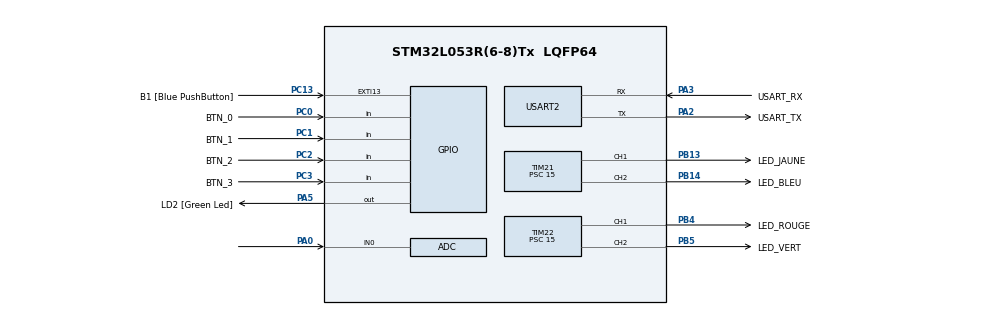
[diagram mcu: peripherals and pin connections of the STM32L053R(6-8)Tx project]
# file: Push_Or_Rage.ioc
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Mcu.Family=STM32L0
Mcu.Name=STM32L053R(6-8)Tx
Mcu.Package=LQFP64
NVIC.USART2_IRQn=true\:0\:0\:false\:false\:true\:true\:true\:true
PA0.Mode=IN0
PA0.Signal=ADC_IN0
PA13.GPIO_Label=TMS
PA13.Mode=Serial_Wire
PA13.Signal=SYS_SWDIO
PA14.GPIO_Label=TCK
PA14.Mode=Serial_Wire
PA14.Signal=SYS_SWCLK
PA2.GPIO_Label=USART_TX
PA2.Mode=Asynchronous
PA2.Signal=USART2_TX
PA3.GPIO_Label=USART_RX
PA3.Mode=Asynchronous
PA3.Signal=USART2_RX
PA5.GPIO_Label=LD2 [Green Led]
PA5.GPIO_PuPd=GPIO_NOPULL
PA5.Signal=GPIO_Output
PB13.GPIO_Label=LED_JAUNE
PB13.Signal=S_TIM21_CH1
PB14.GPIO_Label=LED_BLEU
PB14.Signal=S_TIM21_CH2
PB4.GPIO_Label=LED_ROUGE
PB4.Signal=S_TIM22_CH1
PB5.GPIO_Label=LED_VERT
PB5.Signal=S_TIM22_CH2
PC0.GPIO_Label=BTN_0
PC0.GPIO_PuPd=GPIO_PULLUP
PC0.Signal=GPIO_Input
PC1.GPIO_Label=BTN_1
PC1.GPIO_PuPd=GPIO_PULLUP
PC1.Signal=GPIO_Input
PC13.GPIO_Label=B1 [Blue PushButton]
PC13.GPIO_ModeDefaultEXTI=GPIO_MODE_IT_FALLING
PC13.Signal=GPXTI13
PC14-OSC32_IN.Mode=LSE-External-Oscillator
PC14-OSC32_IN.Signal=RCC_OSC32_IN
PC15-OSC32_OUT.Mode=LSE-External-Oscillator
PC15-OSC32_OUT.Signal=RCC_OSC32_OUT
PC2.GPIO_Label=BTN_2
PC2.GPIO_PuPd=GPIO_PULLUP
PC2.Signal=GPIO_Input
PC3.GPIO_Label=BTN_3
PC3.GPIO_PuPd=GPIO_PULLUP
PC3.Signal=GPIO_Input
PH0-OSC_IN.Mode=HSE-External-Clock-Source
PH0-OSC_IN.Signal=RCC_OSC_IN
PH1-OSC_OUT.Signal=RCC_OSC_OUT
ProjectManager.HeapSize=0x200
ProjectManager.StackSize=0x400
ProjectManager.TargetToolchain=STM32CubeIDE
RCC.AHBFreq_Value=16000000
RCC.APB1Freq_Value=16000000
RCC.APB1TimFreq_Value=16000000
RCC.APB2Freq_Value=16000000
RCC.APB2TimFreq_Value=16000000
RCC.HCLKFreq_Value=16000000
RCC.HSE_VALUE=8000000
RCC.HSI16_VALUE=16000000
RCC.HSI48_VALUE=48000000
RCC.HSI_VALUE=16000000
RCC.MSI_VALUE=2097000
RCC.SYSCLKFreq_VALUE=16000000
RCC.SYSCLKSource=RCC_SYSCLKSOURCE_HSI
RCC.VCOOutputFreq_Value=48000000
SH.S_TIM21_CH1.0=TIM21_CH1,PWM Generation1 CH1
SH.S_TIM21_CH2.0=TIM21_CH2,PWM Generation2 CH2
SH.S_TIM22_CH1.0=TIM22_CH1,PWM Generation1 CH1
SH.S_TIM22_CH2.0=TIM22_CH2,PWM Generation2 CH2
TIM21.Channel-PWM\ Generation1\ CH1=TIM_CHANNEL_1
TIM21.Channel-PWM\ Generation2\ CH2=TIM_CHANNEL_2
TIM21.Period=999
TIM21.Prescaler=15
TIM22.Channel-PWM\ Generation1\ CH1=TIM_CHANNEL_1
TIM22.Channel-PWM\ Generation2\ CH2=TIM_CHANNEL_2
TIM22.Period=999
TIM22.Prescaler=15
USART2.VirtualMode-Asynchronous=VM_ASYNC
VP_TIM21_VS_ClockSourceINT.Mode=Internal
VP_TIM22_VS_ClockSourceINT.Mode=Internal
board=NUCLEO-L053R8

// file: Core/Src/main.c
/* USER CODE BEGIN Header */
/**
  ******************************************************************************
  * @file           : main.c
  * @brief          : Programme principal du TP Microcontrôleurs.
  * @details        : Ce fichier contient la machine à états pour les jeux de
  * Réflexe et de Mémoire, la gestion des E/S, du PWM et de
  * la communication UART avec l'IHM PC.
  * @author         : RANDRIANARIJAONA Joyce, MUZARD Thomas
  * @date           : 10/03/2026
  ******************************************************************************
  * @attention
  *
  * Copyright (c) 2026 STMicroelectronics.
  * All rights reserved.
  *
  * This software is licensed under terms that can be found in the LICENSE file
  * in the root directory of this software component.
  * If no LICENSE file comes with this software, it is provided AS-IS.
  *
  ******************************************************************************
  */
/* USER CODE END Header */
#include "main.h"
#include "adc.h"
#include "tim.h"
#include "usart.h"
#include "gpio.h"

/* USER CODE BEGIN Includes */
#include <stdio.h>
#include <stdlib.h>
#include <string.h>
/* USER CODE END Includes */

/* USER CODE BEGIN PTD */
/**
 * @enum GameState
 * @brief Enumération des différents états de la machine à états du système.
 */
typedef enum {
    STATE_MENU,          /**< État du menu principal d'attente */
    STATE_GAME_REFLEX,   /**< État du jeu de réflexe en cours */
    STATE_GAME_MEMORY,   /**< État du jeu de mémoire (Simon) en cours */
    STATE_GAME_OVER      /**< État de fin de partie */
} GameState;
/* USER CODE END PTD */

/* USER CODE BEGIN PV */
/** @brief État courant de la machine à états globale */
GameState currentState = STATE_MENU;

/** @brief Buffer de réception pour les commandes UART venant du PC */
char rx_buffer[50];

/** @brief Index d'écriture courant dans le buffer de réception */
uint8_t rx_index = 0;

/** @brief Drapeau (flag) levé par l'interruption UART lorsqu'un message complet ('\n') est reçu */
volatile uint8_t command_received = 0;

/** @brief Durée de la partie en millisecondes (modifiable via l'IHM) */
uint32_t activeGameDuration = 30000;
/* USER CODE END PV */

void SystemClock_Config(void);
/* USER CODE BEGIN PFP */
void RunMenuMode(void);
void RunReflexGame(void);
void RunMemoryGame(void);
void RunGameOver(void);
uint32_t ReadPotentiometer(void);
/* USER CODE END PFP */

int main(void)
{

  /* MCU Configuration--------------------------------------------------------*/

  /* Reset of all peripherals, Initializes the Flash interface and the Systick. */
  LL_APB2_GRP1_EnableClock(LL_APB2_GRP1_PERIPH_SYSCFG);
  LL_APB1_GRP1_EnableClock(LL_APB1_GRP1_PERIPH_PWR);

  /* Configure the system clock */
  SystemClock_Config();

  /* Initialize all configured peripherals */
  MX_GPIO_Init();
  MX_USART2_UART_Init();
  MX_ADC_Init();
  MX_TIM21_Init();
  MX_TIM22_Init();

  /* USER CODE BEGIN 2 */
  // Activation de l'interruption de réception UART
  LL_USART_EnableIT_RXNE(USART2);

  // Activation des canaux PWM et des compteurs pour les LEDs
  LL_TIM_CC_EnableChannel(TIM21, LL_TIM_CHANNEL_CH1);
  LL_TIM_CC_EnableChannel(TIM21, LL_TIM_CHANNEL_CH2);
  LL_TIM_EnableCounter(TIM21);

  LL_TIM_CC_EnableChannel(TIM22, LL_TIM_CHANNEL_CH1);
  LL_TIM_CC_EnableChannel(TIM22, LL_TIM_CHANNEL_CH2);
  LL_TIM_EnableCounter(TIM22);

  // Extinction initiale de toutes les LEDs
  EteindreToutesLesLeds();
  /* USER CODE END 2 */

  /* Infinite loop */
  /* USER CODE BEGIN WHILE */
  while (1)
  {
	  switch (currentState) {
			case STATE_MENU:
				RunMenuMode();
				break;
			case STATE_GAME_REFLEX:
				RunReflexGame();
				break;
			case STATE_GAME_MEMORY:
				RunMemoryGame();
				break;
			case STATE_GAME_OVER:
				RunGameOver();
				break;
			default:
				break;
		}
    /* USER CODE END WHILE */

  }
}

void SystemClock_Config(void)
{
  LL_FLASH_SetLatency(LL_FLASH_LATENCY_0);
  while(LL_FLASH_GetLatency()!= LL_FLASH_LATENCY_0)
  {
  }
  LL_PWR_SetRegulVoltageScaling(LL_PWR_REGU_VOLTAGE_SCALE1);
  while (LL_PWR_IsActiveFlag_VOS() != 0)
  {
  }
  LL_RCC_HSI_Enable();

   /* Wait till HSI is ready */
  while(LL_RCC_HSI_IsReady() != 1)
  {

  }
  LL_RCC_HSI_SetCalibTrimming(16);
  LL_RCC_SetAHBPrescaler(LL_RCC_SYSCLK_DIV_1);
  LL_RCC_SetAPB1Prescaler(LL_RCC_APB1_DIV_1);
  LL_RCC_SetAPB2Prescaler(LL_RCC_APB2_DIV_1);
  LL_RCC_SetSysClkSource(LL_RCC_SYS_CLKSOURCE_HSI);

   /* Wait till System clock is ready */
  while(LL_RCC_GetSysClkSource() != LL_RCC_SYS_CLKSOURCE_STATUS_HSI)
  {

  }

  LL_Init1msTick(16000000);

  LL_SetSystemCoreClock(16000000);
  LL_RCC_SetUSARTClockSource(LL_RCC_USART2_CLKSOURCE_PCLK1);
}

/* USER CODE BEGIN 4 */

/**
 * @brief  Redirection de la fonction printf vers le port série UART2.
 * @param  file Fichier de sortie (non utilisé).
 * @param  ptr  Pointeur vers la chaîne de caractères à envoyer.
 * @param  len  Longueur de la chaîne.
 * @retval int  Nombre de caractères envoyés.
 */
int _write(int file, char *ptr, int len) {
    for (int i = 0; i < len; i++) {
        while (!LL_USART_IsActiveFlag_TXE(USART2)) {}
        LL_USART_TransmitData8(USART2, (uint8_t)ptr[i]);
    }
    return len;
}

/**
 * @brief Analyse la commande reçue depuis le PC (IHM) via l'UART et configure le jeu en conséquence.
 * @note  Format attendu : "CMD:START:Mode:Temps" (ex: "CMD:START:Reflexe:60").
 */
void TraiterCommandePC(void) {
    if (strncmp(rx_buffer, "CMD:START:", 10) == 0) {
        char *modeStr = rx_buffer + 10;
        char *timeStr = strchr(modeStr, ':');

        if (timeStr != NULL) {
            *timeStr = '\0';
            timeStr++;

            int dureeSecondes = atoi(timeStr);
            activeGameDuration = dureeSecondes * 1000;

            if (strncmp(modeStr, "Reflexe", 7) == 0 || strncmp(modeStr, "Classique", 9) == 0) {
                currentState = STATE_GAME_REFLEX;
            }
            else if (strncmp(modeStr, "Memoire", 7) == 0 || strncmp(modeStr, "Memory", 6) == 0) {
                currentState = STATE_GAME_MEMORY;
            }

            srand(SysTick->VAL);
        }
    }
}

/**
 * @brief Éteint toutes les LEDs en réglant les rapports cycliques (Duty Cycle) PWM à 0.
 */
void EteindreToutesLesLeds(void) {
	LL_TIM_OC_SetCompareCH1(TIM21, 0);
	LL_TIM_OC_SetCompareCH2(TIM21, 0);
	LL_TIM_OC_SetCompareCH1(TIM22, 0);
	LL_TIM_OC_SetCompareCH2(TIM22, 0);
}

/**
 * @brief  Allume une LED spécifique en ajustant sa luminosité grâce au potentiomètre.
 * @param  index Index de la LED à allumer (0: Bleu, 1: Jaune, 2: Vert, 3: Rouge).
 * @note   La valeur de la période du Timer (ARR) doit être configurée à 999 ou 1000 dans CubeIDE.
 */
void AllumerLed(int index) {
    EteindreToutesLesLeds();

    uint32_t adc_value = ReadPotentiometer();

    // Calcul de la luminosité pour un Timer de période (ARR) = 1000
	uint32_t brightness = ((adc_value * 1000) / 4095) + 50;
	if (brightness > 1000) brightness = 1000;

    switch(index) {
        case 0: LL_TIM_OC_SetCompareCH1(TIM21, brightness); break;
        case 1: LL_TIM_OC_SetCompareCH2(TIM21, brightness); break;
        case 2: LL_TIM_OC_SetCompareCH1(TIM22, brightness); break;
        case 3: LL_TIM_OC_SetCompareCH2(TIM22, brightness); break;
    }
}

/**
 * @brief  Scrutte l'état physique des 4 boutons d'entrée.
 * @retval int L'index du bouton pressé (0 à 3), ou -1 si aucun bouton n'est enfoncé.
 */
int LireBoutonAppuye(void) {
    if (LL_GPIO_IsInputPinSet(BTN_0_GPIO_Port, BTN_0_Pin) == 0) return 0;
    if (LL_GPIO_IsInputPinSet(BTN_1_GPIO_Port, BTN_1_Pin) == 0) return 1;
    if (LL_GPIO_IsInputPinSet(BTN_2_GPIO_Port, BTN_2_Pin) == 0) return 2;
    if (LL_GPIO_IsInputPinSet(BTN_3_GPIO_Port, BTN_3_Pin) == 0) return 3;
    return -1;
}

/**
 * @brief État MENU : Attente d'une interaction utilisateur (physique ou via UART).
 */
void RunMenuMode(void) {
    printf("MSG:Menu - BTN_0 (Jaune) = Reflexe | BTN_1 (Bleu) = Memoire\n");
    printf("MOD:0\n");
    EteindreToutesLesLeds();

    uint32_t random_seed = 0;

    while (currentState == STATE_MENU) {
        random_seed++;

        if (command_received == 1) {
			command_received = 0;
			TraiterCommandePC();
			if (currentState != STATE_MENU) break;
		}

        int btn = LireBoutonAppuye();

        if (btn == 0) {
            LL_mDelay(50);
            if (LireBoutonAppuye() == 0) {
                srand(random_seed);
                currentState = STATE_GAME_REFLEX;
                while(LireBoutonAppuye() != -1);
            }
        }
        else if (btn == 1) {
            LL_mDelay(50);
            if (LireBoutonAppuye() == 1) {
                srand(random_seed);
                currentState = STATE_GAME_MEMORY;
                while(LireBoutonAppuye() != -1);
            }
        }
    }
}

/**
 * @brief État JEU DE RÉFLEXE : Allume des LEDs aléatoirement et attend une réaction rapide.
 */
void RunReflexGame(void) {
    printf("MSG:Preparez-vous !\n");
    printf("MOD:1\n");
    printf("SCR:0\n");

    int currentScore = 0;
    int loopCounter = 0;
    int maxLoops = activeGameDuration / 50;

    int ledActive = -1;
    int attenteAvantAllumage = 0;

    EteindreToutesLesLeds();

    while (loopCounter < maxLoops && currentState == STATE_GAME_REFLEX) {
        if (loopCounter % 20 == 0) {
            printf("TIM:%d\n", (maxLoops - loopCounter)/20);
        }

        if (ledActive == -1) {
            if (attenteAvantAllumage == 0) {
                attenteAvantAllumage = (rand() % 10) + 5;
            }
            attenteAvantAllumage--;

            if (attenteAvantAllumage == 0) {
                ledActive = rand() % 4;
                AllumerLed(ledActive);
            }
        }
		else {
			int btnAppuye = LireBoutonAppuye();

			if (btnAppuye != -1) {
				LL_mDelay(50);
				int btnConfirme = LireBoutonAppuye();

				if (btnConfirme == btnAppuye) {
					if (btnConfirme == ledActive) {
						currentScore++;
						printf("SCR:%d\n", currentScore);
					}

					EteindreToutesLesLeds();
					ledActive = -1;

					while(LireBoutonAppuye() != -1);
				}
			}
		}

        LL_mDelay(50);
        loopCounter++;
    }

    EteindreToutesLesLeds();
    currentState = STATE_GAME_OVER;
}

/**
 * @brief État JEU DE MÉMOIRE : Affiche une séquence lumineuse que le joueur doit reproduire.
 */
void RunMemoryGame(void) {
    printf("MSG:Retenez la sequence !\n");
    printf("MOD:2\n");
    printf("SCR:0\n");

    int sequence[100];
    int currentLevel = 1;
    int isGameOver = 0;

    while (!isGameOver && currentState == STATE_GAME_MEMORY) {
        EteindreToutesLesLeds();
        LL_mDelay(1000);

        sequence[currentLevel - 1] = rand() % 4;

        printf("MSG:Observez...\n");
        for (int i = 0; i < currentLevel; i++) {
            AllumerLed(sequence[i]);
            LL_mDelay(600);
            EteindreToutesLesLeds();
            LL_mDelay(300);
        }

        printf("MSG:A vous !\n");
        int joueurIndex = 0;
        int erreurSaisie = 0;

        while (joueurIndex < currentLevel && !erreurSaisie) {
            int btn = LireBoutonAppuye();

            if (btn != -1) {
                LL_mDelay(50);
                if (LireBoutonAppuye() == btn) {

                    AllumerLed(btn);

                    if (btn == sequence[joueurIndex]) {
                        joueurIndex++;
                    } else {
                        erreurSaisie = 1;
                    }

                    while(LireBoutonAppuye() != -1);
                    EteindreToutesLesLeds();
                }
            }
        }

        if (erreurSaisie) {
            printf("MSG:Erreur !\n");
            isGameOver = 1;
            for(int k=0; k<3; k++) { AllumerLed(3); LL_mDelay(200); EteindreToutesLesLeds(); LL_mDelay(200); }
        } else {
            printf("SCR:%d\n", currentLevel);
            currentLevel++;
            for(int k=0; k<2; k++) { AllumerLed(2); LL_mDelay(150); EteindreToutesLesLeds(); LL_mDelay(150); }
        }
    }

    currentState = STATE_GAME_OVER;
}

/**
 * @brief État FIN DE PARTIE : Attente d'un signal pour retourner au menu.
 */
void RunGameOver(void) {
    printf("MSG:Partie Terminee ! BTN_0 (Jaune) pour Menu\n");

    while (currentState == STATE_GAME_OVER) {
        if (LireBoutonAppuye() == 0) {
            LL_mDelay(50);
            while(LireBoutonAppuye() != -1);
            currentState = STATE_MENU;
        }
    }
}

/**
 * @brief  Initialise, démarre et lit la valeur analogique du convertisseur ADC.
 * @retval uint32_t Valeur numérique du potentiomètre (0 à 4095).
 */
uint32_t ReadPotentiometer(void) {
    int timeout;

    if (LL_ADC_IsEnabled(ADC1) == 0) {
        LL_ADC_Enable(ADC1);

        timeout = 10000;
        while (LL_ADC_IsActiveFlag_ADRDY(ADC1) == 0 && timeout > 0) {
            timeout--;
        }
    }

    LL_ADC_REG_StartConversion(ADC1);

    timeout = 10000;
    while (LL_ADC_IsActiveFlag_EOC(ADC1) == 0 && timeout > 0) {
        timeout--;
    }

    return LL_ADC_REG_ReadConversionData12(ADC1);
}
/* USER CODE END 4 */

void Error_Handler(void)
{
  __disable_irq();
  while (1)
  {
  }
}
